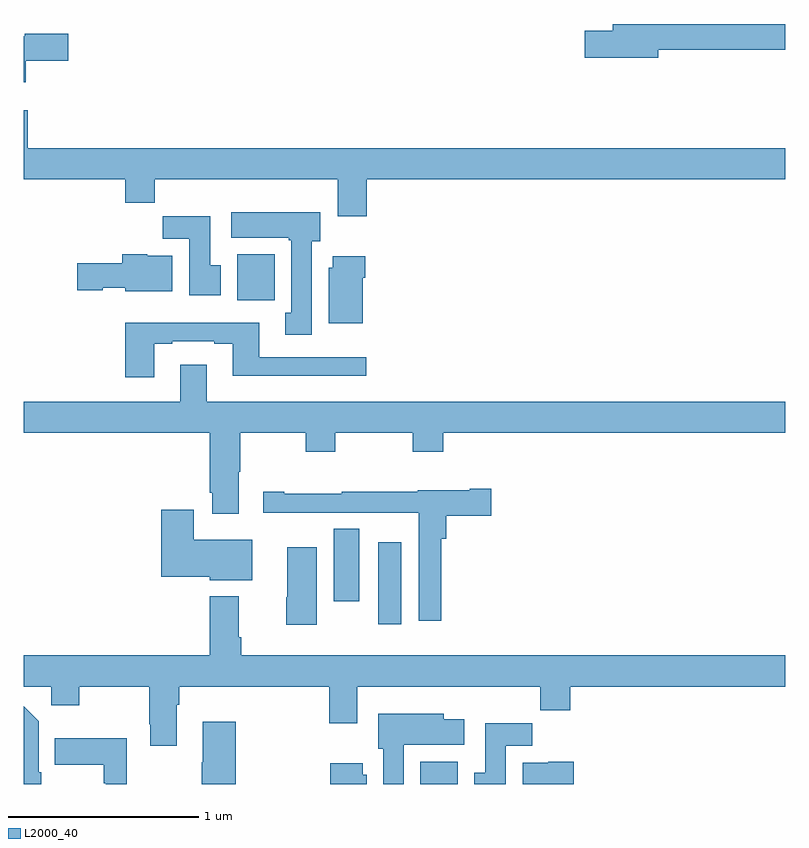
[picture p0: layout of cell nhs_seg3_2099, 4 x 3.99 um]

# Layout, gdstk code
import gdstk
lib = gdstk.Library(unit=1e-6, precision=1e-09)
def R(c, l, rs):  # rectangles x0, y0, x1, y1
    for r in rs: c.add(gdstk.rectangle(r[:2], r[2:], *l))
def P(c, l, *ps):  # polygons
    for p in ps: c.add(gdstk.Polygon(p, *l))
L2000_40 = (2000, 40)

nhs_seg3_2099 = lib.new_cell('nhs_seg3_2099')
R(nhs_seg3_2099, L2000_40, [(221.084,704.4,221.281,704.518), (220.862,705.24,220.984,705.67), (220.628,705.36,220.762,705.74), (220.121,706.94,220.318,707.182)])
P(nhs_seg3_2099, L2000_40, [(222.334,708.256),(223,708.256),(223,708.392),(222.095,708.392),(222.095,708.356),(221.946,708.356),(221.946,708.214),(222.334,708.214)],
  [(219.01,708.199),(219.235,708.199),(219.235,708.341),(219.006,708.341),(219.006,708.328),(219,708.328),(219,708.087),(219.01,708.087)],
  [(220.802,707.576),(223,707.576),(223,707.74),(219.02,707.74),(219.02,707.938),(219,707.938),(219,707.576),(219.533,707.576),(219.533,707.452),(219.689,707.452),(219.689,707.576),(220.649,707.576),(220.649,707.382),(220.802,707.382)],
  [(220.513,707.25),(220.558,707.25),(220.558,707.404),(220.089,707.404),(220.089,707.27),(220.393,707.27),(220.393,707.257),(220.406,707.257),(220.406,706.874),(220.373,706.874),(220.373,706.761),(220.513,706.761)],
  [(220.036,707.124),(219.979,707.124),(219.979,707.383),(219.73,707.383),(219.73,707.264),(219.869,707.264),(219.869,706.968),(220.036,706.968)],
  [(219.781,707.176),(219.648,707.176),(219.648,707.182),(219.518,707.182),(219.518,707.136),(219.282,707.136),(219.282,706.994),(219.414,706.994),(219.414,707.006),(219.534,707.006),(219.534,706.988),(219.781,706.988)],
  [(220.78,707.06),(220.793,707.06),(220.793,707.173),(220.622,707.173),(220.622,707.112),(220.601,707.112),(220.601,706.82),(220.78,706.82)],
  [(219.685,706.713),(219.781,706.713),(219.781,706.725),(220.001,706.725),(220.001,706.713),(220.097,706.713),(220.097,706.544),(220.798,706.544),(220.798,706.641),(220.237,706.641),(220.237,706.822),(219.533,706.822),(219.533,706.536),(219.685,706.536)],
  [(220.129,706.04),(220.137,706.04),(220.137,706.244),(220.48,706.244),(220.48,706.145),(220.635,706.145),(220.635,706.244),(221.044,706.244),(221.044,706.145),(221.204,706.145),(221.204,706.244),(223,706.244),(223,706.408),(219.961,706.408),(219.961,706.603),(219.821,706.603),(219.821,706.408),(219,706.408),(219,706.244),(219.977,706.244),(219.977,705.931),(219.989,705.931),(219.989,705.819),(220.129,705.819)],
  [(221.192,705.689),(221.219,705.689),(221.219,705.809),(221.455,705.809),(221.455,705.951),(221.342,705.951),(221.342,705.943),(221.07,705.943),(221.07,705.934),(220.67,705.934),(220.67,705.924),(220.369,705.924),(220.369,705.934),(220.257,705.934),(220.257,705.824),(220.532,705.824),(220.532,705.825),(220.866,705.825),(220.866,705.824),(221.076,705.824),(221.076,705.258),(221.192,705.258)],
  [(220.201,705.682),(219.892,705.682),(219.892,705.841),(219.722,705.841),(219.722,705.488),(219.978,705.488),(219.978,705.47),(220.201,705.47)],
  [(220.54,705.643),(220.385,705.643),(220.385,705.381),(220.379,705.381),(220.379,705.237),(220.54,705.237)],
  [(219.805,704.816),(219.818,704.816),(219.818,704.912),(220.606,704.912),(220.606,704.718),(220.753,704.718),(220.753,704.912),(221.713,704.912),(221.713,704.788),(221.87,704.788),(221.87,704.912),(223,704.912),(223,705.076),(220.142,705.076),(220.142,705.172),(220.129,705.172),(220.129,705.385),(219.977,705.385),(219.977,705.076),(219,705.076),(219,704.912),(219.144,704.912),(219.144,704.813),(219.291,704.813),(219.291,704.912),(219.658,704.912),(219.658,704.713),(219.665,704.713),(219.665,704.601),(219.805,704.601)],
  [(219.091,704.461),(219.078,704.461),(219.078,704.73),(219,704.808),(219,704.4),(219.091,704.4)],
  [(220.996,704.606),(221.314,704.606),(221.314,704.74),(221.206,704.74),(221.206,704.77),(220.862,704.77),(220.862,704.586),(220.889,704.586),(220.889,704.4),(220.996,704.4)],
  [(220.114,704.728),(219.941,704.728),(219.941,704.513),(219.934,704.513),(219.934,704.4),(220.114,704.4)],
  [(221.533,704.6),(221.672,704.6),(221.672,704.719),(221.423,704.719),(221.423,704.46),(221.366,704.46),(221.366,704.4),(221.533,704.4)],
  [(219.541,704.641),(219.163,704.641),(219.163,704.501),(219.42,704.501),(219.42,704.405),(219.432,704.405),(219.432,704.4),(219.541,704.4)],
  [(221.89,704.518),(221.754,704.518),(221.754,704.512),(221.621,704.512),(221.621,704.4),(221.89,704.4)],
  [(220.801,704.448),(220.78,704.448),(220.78,704.509),(220.61,704.509),(220.61,704.4),(220.801,704.4)])

lib.write_gds('nhs_seg3_2099.gds')
